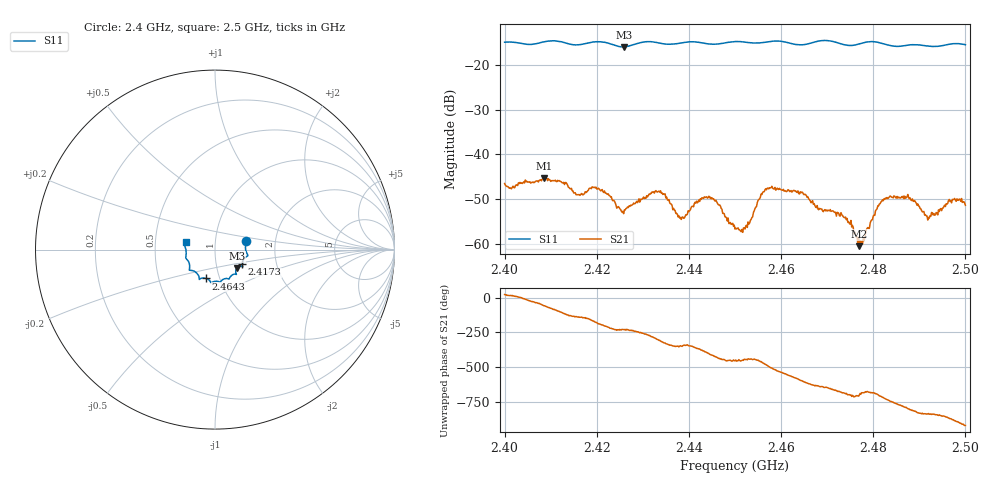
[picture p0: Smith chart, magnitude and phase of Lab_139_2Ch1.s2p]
# Hz S RI R 50
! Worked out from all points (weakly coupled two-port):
!   601 points, 2.4 GHz to 2.5 GHz, reference 50 ohm
!   highest |S21| = -45.28 dB at 2.4085 GHz (marker M1); lowest = -60.6 dB at 2.477 GHz (marker M2)
!   lowest |S11| = -15.9 dB at 2.4258 GHz (marker M3), VSWR 1.38, Z = 62.3 - j13.2 ohm
!   |S11| at or under -10 dB: start of sweep to end of sweep
!   S12 and S22 are empty: the file has one direction only
!   S11 on the Smith chart (normalised r, x): 2.4 GHz: 1.41, +0.14; 2.4173 GHz: 1.34, -0.23; 2.4643 GHz: 0.86, -0.28; 2.5 GHz: 0.72, +0.06
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2.4e9  0.1733 0.0496  0.00429 0.00193  0 0  0 0
2.4085e9  0.1801 -0.025  0.00302 -0.00453  0 0  0 0
2.416667e9  0.1529 -0.0749  -0.00274 -0.00239  0 0  0 0
2.417333e9  0.1522 -0.0823  -0.00296 -0.00207  0 0  0 0
2.420667e9  0.1546 -0.0966  -0.00394 0.000685  0 0  0 0
2.425833e9  0.1216 -0.1033  -0.00141 0.00164  0 0  0 0
2.433333e9  0.1126 -0.1367  0.00204 0.00324  0 0  0 0
2.4385e9  0.0818 -0.1572  0.00194 0.000325  0 0  0 0
2.444833e9  0.0568 -0.1615  0.00195 -0.00248  0 0  0 0
2.45e9  0.0296 -0.1809  -0.000119 -0.00145  0 0  0 0
2.452667e9  0.0194 -0.1779  7.66e-05 -0.00151  0 0  0 0
2.457e9  -0.0135 -0.1809  -0.00263 -0.00322  0 0  0 0
2.464333e9  -0.0503 -0.1605  -0.00196 0.00314  0 0  0 0
2.466667e9  -0.0763 -0.1598  -0.000116 0.00291  0 0  0 0
2.4735e9  -0.094 -0.1413  0.00166 0.00112  0 0  0 0
2.477e9  -0.1268 -0.1167  0.000885 0.000301  0 0  0 0
2.4815e9  -0.1419 -0.1062  0.00276 0.000482  0 0  0 0
2.483333e9  -0.1409 -0.0894  0.00304 -0.00116  0 0  0 0
2.488e9  -0.1604 -0.0509  8.27e-05 -0.00326  0 0  0 0
2.492e9  -0.1607 -0.0253  -0.000869 -0.00176  0 0  0 0
2.496833e9  -0.1701 0.0256  -0.00269 -0.00134  0 0  0 0
2.5e9  -0.1636 0.042  -0.00249 0.00101  0 0  0 0
